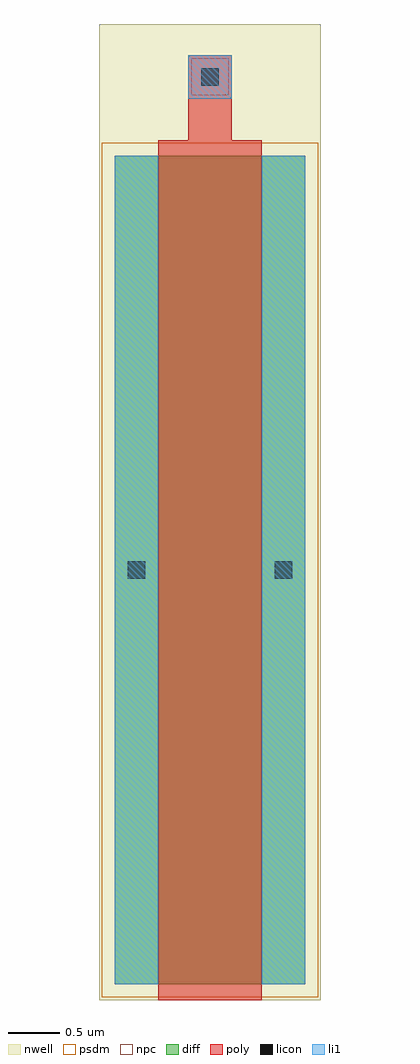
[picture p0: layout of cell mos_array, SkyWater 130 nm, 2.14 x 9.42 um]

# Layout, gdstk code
import gdstk
lib = gdstk.Library(unit=1e-6, precision=1e-09)
def R(c, l, rs):  # rectangles x0, y0, x1, y1
    for r in rs: c.add(gdstk.rectangle(r[:2], r[2:], *l))
nwell = (64, 20)
diff = (65, 20)
poly = (66, 20)
licon = (66, 44)
li1 = (67, 20)
psdm = (94, 20)
npc = (95, 20)

mos_array = lib.new_cell('mos_array')
R(mos_array, nwell, [(-0.15,-0.15,1.99,9.27)])
R(mos_array, diff, [(0,0,1.84,8)])
R(mos_array, poly, [(0.42,-0.15,1.42,8), (0.42,8,1.42,8.15), (0.42,8,1.42,8.15), (0.71,8.15,1.13,8.97)])
R(mos_array, licon, [(0.125,3.915,0.295,4.085), (1.545,3.915,1.715,4.085), (0.835,8.675,1.005,8.845)])
R(mos_array, li1, [(0,0,0.42,8), (1.42,0,1.84,8), (0.71,8.55,1.13,8.97)])
R(mos_array, psdm, [(-0.125,-0.125,1.965,8.125)])
R(mos_array, npc, [(0.74,8.58,1.1,8.94)])

lib.write_gds('mos_array.gds')
